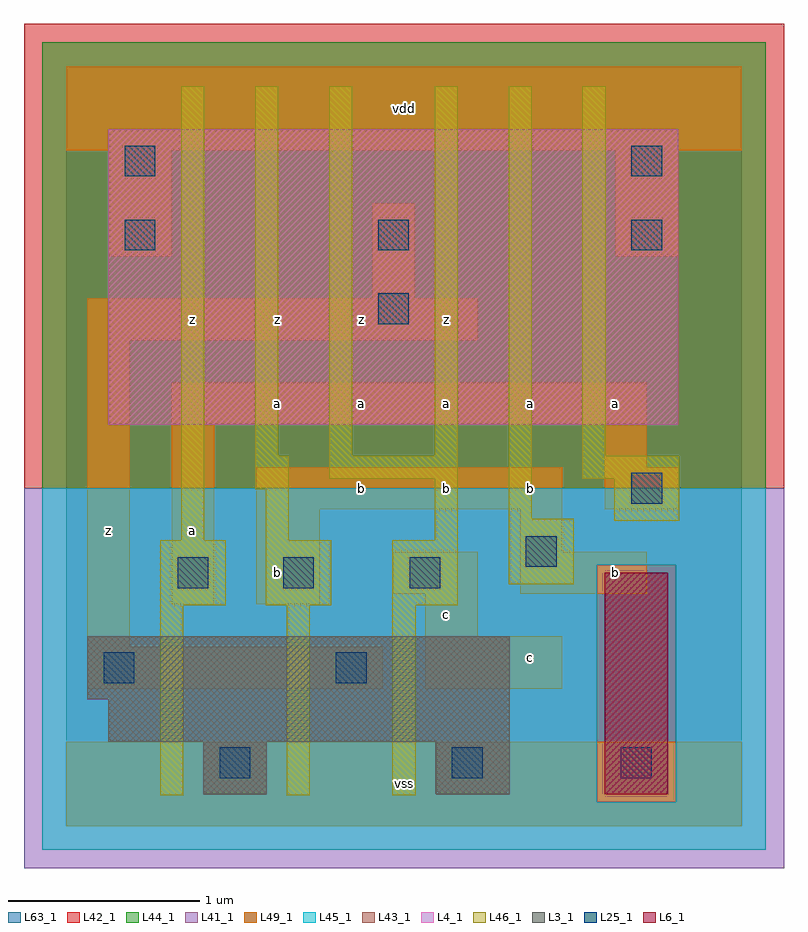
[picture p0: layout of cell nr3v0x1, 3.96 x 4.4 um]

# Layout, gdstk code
import gdstk
lib = gdstk.Library(unit=1e-6, precision=1e-09)
def R(c, l, rs):  # rectangles x0, y0, x1, y1
    for r in rs: c.add(gdstk.rectangle(r[:2], r[2:], *l))
def A(c, l, x, y, w, h, nx, ny, dx, dy):  # array of equal rectangles
    R(c, l, [(x+i*dx, y+j*dy, x+i*dx+w, y+j*dy+h) for i in range(nx) for j in range(ny)])
L3_1 = (3, 1)
L4_1 = (4, 1)
L6_1 = (6, 1)
L25_1 = (25, 1)
L41_1 = (41, 1)
L42_1 = (42, 1)
L43_1 = (43, 1)
L44_1 = (44, 1)
L45_1 = (45, 1)
L46_1 = (46, 1)
L49_1 = (49, 1)
L63_1 = (63, 1)

nr3v0x1 = lib.new_cell('nr3v0x1')
R(nr3v0x1, L3_1, [(0.715,0.165,1.045,0.44), (1.925,0.165,2.31,0.44), (0.22,0.44,2.31,0.66), (0.11,0.66,2.31,0.99)])
R(nr3v0x1, L4_1, [(0.22,2.09,3.19,3.63)])
R(nr3v0x1, L6_1, [(2.805,0.165,3.135,1.32)])
A(nr3v0x1, L25_1, 0.305, 3, 0.16, 0.16, 3, 1, 1.32, 0)
R(nr3v0x1, L25_1, [(0.8,0.25,0.96,0.41), (2.01,0.25,2.17,0.41), (2.89,0.25,3.05,0.41), (0.195,0.745,0.355,0.905), (1.405,0.745,1.565,0.905), (0.58,1.24,0.74,1.4), (1.13,1.24,1.29,1.4), (1.79,1.24,1.95,1.4), (2.395,1.35,2.555,1.51), (2.945,1.68,3.105,1.84), (1.625,2.615,1.785,2.775), (0.305,3.385,0.465,3.545), (2.945,3.385,3.105,3.545)])
R(nr3v0x1, L41_1, [(-0.22,-0.22,3.74,1.76)])
R(nr3v0x1, L42_1, [(-0.22,1.76,3.74,4.18)])
R(nr3v0x1, L43_1, [(0.715,0.165,1.045,0.44), (1.925,0.165,2.31,0.44), (2.805,0.165,3.135,1.32), (0.22,0.44,2.31,0.66), (0.11,0.66,2.31,0.99), (0.22,2.09,3.19,3.63)])
R(nr3v0x1, L44_1, [(2.765,0.125,3.175,1.36), (-0.125,1.76,3.645,4.085)])
R(nr3v0x1, L45_1, [(-0.125,-0.125,3.645,0.125), (-0.125,0.125,2.765,1.36), (3.175,0.125,3.645,1.36), (-0.125,1.36,3.645,1.76)])
R(nr3v0x1, L46_1, [(0.49,0.16,0.61,1.15), (1.15,0.16,1.27,1.15), (1.7,0.16,1.82,1.15), (0.49,1.15,0.83,1.49), (1.04,1.15,1.38,1.49), (1.7,1.15,2.04,1.49), (2.305,1.26,2.645,1.6), (0.6,1.49,0.72,3.855), (1.04,1.49,1.16,1.755), (1.92,1.49,2.04,1.81), (2.855,1.59,3.195,1.81), (2.305,1.6,2.425,3.855), (0.985,1.755,1.16,1.93), (1.37,1.81,2.04,1.93), (2.69,1.81,3.195,1.93), (0.985,1.93,1.105,3.855), (1.37,1.93,1.49,3.855), (1.92,1.93,2.04,3.855), (2.69,1.93,2.81,3.855)])
R(nr3v0x1, L49_1, [(0,0,3.52,0.44), (0.11,0.715,1.65,0.935), (1.87,0.715,2.585,0.99), (0.11,0.935,0.33,2.53), (1.87,0.99,2.145,1.21), (0.55,1.155,0.77,2.09), (0.99,1.155,1.32,1.65), (1.705,1.21,2.145,1.43), (2.365,1.21,3.025,1.43), (2.365,1.43,2.585,1.65), (0.99,1.65,2.585,1.87), (2.805,1.65,3.19,1.87), (2.805,1.87,3.025,2.09), (0.55,2.09,3.025,2.31), (0.11,2.53,2.145,2.75), (1.595,2.75,1.815,3.245), (0.22,2.97,0.55,3.52), (2.86,2.97,3.19,3.52), (0,3.52,3.52,3.96)])
R(nr3v0x1, L63_1, [(0,0,3.52,3.96)])
nr3v0x1.add(gdstk.Label('z', (0.22,1.54), layer=49, texttype=1))
nr3v0x1.add(gdstk.Label('b', (1.1,1.32), layer=49, texttype=1))
nr3v0x1.add(gdstk.Label('a', (0.66,1.54), layer=49, texttype=1))
nr3v0x1.add(gdstk.Label('a', (1.1,2.2), layer=49, texttype=1))
nr3v0x1.add(gdstk.Label('z', (0.66,2.64), layer=49, texttype=1))
nr3v0x1.add(gdstk.Label('z', (1.1,2.64), layer=49, texttype=1))
nr3v0x1.add(gdstk.Label('vss', (1.76,0.22), layer=49, texttype=1))
nr3v0x1.add(gdstk.Label('c', (1.98,1.1), layer=49, texttype=1))
nr3v0x1.add(gdstk.Label('b', (1.98,1.76), layer=49, texttype=1))
nr3v0x1.add(gdstk.Label('b', (1.54,1.76), layer=49, texttype=1))
nr3v0x1.add(gdstk.Label('a', (1.54,2.2), layer=49, texttype=1))
nr3v0x1.add(gdstk.Label('a', (1.98,2.2), layer=49, texttype=1))
nr3v0x1.add(gdstk.Label('z', (1.54,2.64), layer=49, texttype=1))
nr3v0x1.add(gdstk.Label('z', (1.98,2.64), layer=49, texttype=1))
nr3v0x1.add(gdstk.Label('vdd', (1.76,3.74), layer=49, texttype=1))
nr3v0x1.add(gdstk.Label('c', (2.42,0.88), layer=49, texttype=1))
nr3v0x1.add(gdstk.Label('b', (2.42,1.76), layer=49, texttype=1))
nr3v0x1.add(gdstk.Label('a', (2.42,2.2), layer=49, texttype=1))
nr3v0x1.add(gdstk.Label('b', (2.86,1.32), layer=49, texttype=1))
nr3v0x1.add(gdstk.Label('a', (2.86,2.2), layer=49, texttype=1))

lib.write_gds('nr3v0x1.gds')
